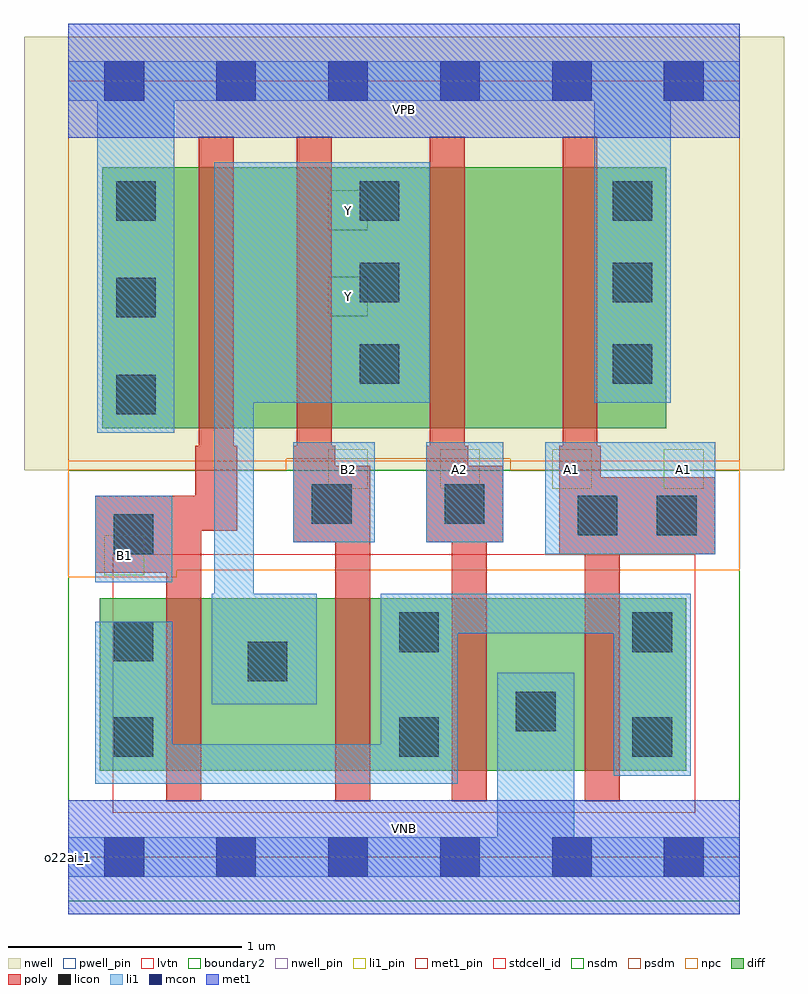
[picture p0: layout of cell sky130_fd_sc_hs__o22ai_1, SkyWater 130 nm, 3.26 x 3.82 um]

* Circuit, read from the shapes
.subckt sky130_fd_sc_hs__o22ai_1 A1 A2 B1 B2 VGND VNB VPB VPWR Y
XM1 Y B1 n1 VNB sky130_fd_pr__nfet_01v8_lvt w=0.74 l=0.15
XM2 n1 B2 Y VNB sky130_fd_pr__nfet_01v8_lvt w=0.74 l=0.15
XM3 VGND A2 n1 VNB sky130_fd_pr__nfet_01v8_lvt w=0.74 l=0.15
XM4 n1 A1 VGND VNB sky130_fd_pr__nfet_01v8_lvt w=0.74 l=0.15
XM5 n2 B1 VPWR VPB sky130_fd_pr__pfet_01v8 w=1.12 l=0.15
XM6 Y B2 n2 VPB sky130_fd_pr__pfet_01v8 w=1.12 l=0.15
XM7 n3 A2 Y VPB sky130_fd_pr__pfet_01v8 w=1.12 l=0.15
XM8 VPWR A1 n3 VPB sky130_fd_pr__pfet_01v8 w=1.12 l=0.15
.ends

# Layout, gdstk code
import gdstk
lib = gdstk.Library(unit=1e-6, precision=1e-09)
def R(c, l, rs):  # rectangles x0, y0, x1, y1
    for r in rs: c.add(gdstk.rectangle(r[:2], r[2:], *l))
def A(c, l, x, y, w, h, nx, ny, dx, dy):  # array of equal rectangles
    R(c, l, [(x+i*dx, y+j*dy, x+i*dx+w, y+j*dy+h) for i in range(nx) for j in range(ny)])
def P(c, l, *ps):  # polygons
    for p in ps: c.add(gdstk.Polygon(p, *l))
nwell_pin = (64, 16)
nwell = (64, 20)
diff = (65, 20)
poly = (66, 20)
licon = (66, 44)
li1_pin = (67, 16)
li1 = (67, 20)
mcon = (67, 44)
met1_pin = (68, 16)
met1 = (68, 20)
stdcell_id = (81, 4)
nsdm = (93, 44)
psdm = (94, 20)
npc = (95, 20)
pwell_pin = (122, 16)
lvtn = (125, 44)
boundary2 = (236, 0)

sky130_fd_sc_hs__o22ai_1 = lib.new_cell('sky130_fd_sc_hs__o22ai_1')
R(sky130_fd_sc_hs__o22ai_1, nwell_pin, [(0,3.085,2.88,3.33)])
R(sky130_fd_sc_hs__o22ai_1, nwell, [(-0.19,1.66,3.07,3.52)])
R(sky130_fd_sc_hs__o22ai_1, diff, [(0.135,0.37,2.65,1.11), (0.145,1.84,2.565,2.96)])
P(sky130_fd_sc_hs__o22ai_1, poly, [(2.775,1.63),(2.285,1.63),(2.285,1.765),(2.27,1.765),(2.27,3.09),(2.12,3.09),(2.12,1.765),(2.105,1.765),(2.105,1.3),(2.215,1.3),(2.215,0.24),(2.365,0.24),(2.365,1.3),(2.775,1.3)],
  [(1.865,1.68),(1.715,1.68),(1.715,1.765),(1.7,1.765),(1.7,3.09),(1.55,3.09),(1.55,1.765),(1.535,1.765),(1.535,1.35),(1.645,1.35),(1.645,0.24),(1.795,0.24),(1.795,1.35),(1.865,1.35)],
  [(1.295,1.68),(1.145,1.68),(1.145,1.765),(1.13,1.765),(1.13,3.09),(0.98,3.09),(0.98,1.765),(0.965,1.765),(0.965,1.35),(1.145,1.35),(1.145,0.24),(1.295,0.24)],
  [(0.725,1.765),(0.71,1.765),(0.71,3.09),(0.56,3.09),(0.56,1.765),(0.545,1.765),(0.545,1.55),(0.115,1.55),(0.115,1.22),(0.42,1.22),(0.42,0.24),(0.57,0.24),(0.57,1.4),(0.725,1.4)])
A(sky130_fd_sc_hs__o22ai_1, licon, 0.205, 1.9, 0.17, 0.17, 1, 3, 0, 0.415)
A(sky130_fd_sc_hs__o22ai_1, licon, 1.25, 2.03, 0.17, 0.17, 1, 3, 0, 0.35)
A(sky130_fd_sc_hs__o22ai_1, licon, 2.335, 2.03, 0.17, 0.17, 1, 3, 0, 0.35)
R(sky130_fd_sc_hs__o22ai_1, licon, [(0.195,0.43,0.365,0.6), (1.42,0.43,1.59,0.6), (2.42,0.43,2.59,0.6), (1.92,0.54,2.09,0.71), (0.77,0.755,0.94,0.925), (0.195,0.84,0.365,1.01), (1.42,0.88,1.59,1.05), (2.42,0.88,2.59,1.05), (0.195,1.3,0.365,1.47), (2.185,1.38,2.355,1.55), (2.525,1.38,2.695,1.55), (1.045,1.43,1.215,1.6), (1.615,1.43,1.785,1.6)])
A(sky130_fd_sc_hs__o22ai_1, li1_pin, 1.115, 1.58, 0.17, 0.17, 4, 1, 0.48, 0)
R(sky130_fd_sc_hs__o22ai_1, li1_pin, [(0.155,1.21,0.325,1.38), (1.115,2.32,1.285,2.49), (1.115,2.69,1.285,2.86)])
R(sky130_fd_sc_hs__o22ai_1, li1, [(0.115,1.18,0.445,1.55), (2.045,1.3,2.775,1.78), (0.965,1.35,1.315,1.78), (1.535,1.35,1.865,1.78)])
P(sky130_fd_sc_hs__o22ai_1, li1, [(0,-0.085),(0,0.085),(1.84,0.085),(1.84,0.79),(2.17,0.79),(2.17,0.085),(2.88,0.085),(2.88,-0.085)],
  [(0,3.245),(0,3.415),(2.88,3.415),(2.88,3.245),(2.585,3.245),(2.585,1.95),(2.255,1.95),(2.255,3.245),(0.455,3.245),(0.455,1.82),(0.125,1.82),(0.125,3.245)],
  [(0.625,2.98),(1.55,2.98),(1.55,1.95),(0.795,1.95),(0.795,1.13),(1.065,1.13),(1.065,0.655),(0.615,0.655),(0.615,1.13),(0.625,1.13)],
  [(2.34,0.35),(2.34,0.96),(1.67,0.96),(1.67,0.315),(0.115,0.315),(0.115,1.01),(0.445,1.01),(0.445,0.485),(1.34,0.485),(1.34,1.13),(2.67,1.13),(2.67,0.35)])
A(sky130_fd_sc_hs__o22ai_1, mcon, 0.155, -0.085, 0.17, 0.17, 6, 2, 0.48, 3.33)
R(sky130_fd_sc_hs__o22ai_1, met1_pin, [(0,0,2.88,0.245), (0,3.085,2.88,3.33)])
R(sky130_fd_sc_hs__o22ai_1, met1, [(0,-0.245,2.88,0.245), (0,3.085,2.88,3.575)])
R(sky130_fd_sc_hs__o22ai_1, stdcell_id, [(0,0,2.88,3.33)])
R(sky130_fd_sc_hs__o22ai_1, nsdm, [(0,-0.19,2.88,1.66)])
P(sky130_fd_sc_hs__o22ai_1, psdm, [(2.88,3.52),(0,3.52),(0,1.66),(0.935,1.66),(0.935,1.71),(1.895,1.71),(1.895,1.66),(2.88,1.66)])
P(sky130_fd_sc_hs__o22ai_1, npc, [(2.88,1.7),(0,1.7),(0,1.2),(0.465,1.2),(0.465,1.23),(2.88,1.23)])
R(sky130_fd_sc_hs__o22ai_1, pwell_pin, [(0,0,2.88,0.245)])
R(sky130_fd_sc_hs__o22ai_1, lvtn, [(0.19,0.19,2.69,1.3)])
R(sky130_fd_sc_hs__o22ai_1, boundary2, [(0,0,2.88,3.33)])
sky130_fd_sc_hs__o22ai_1.add(gdstk.Label('o22ai_1', (0,0), layer=83, texttype=44))
sky130_fd_sc_hs__o22ai_1.add(gdstk.Label('VNB', (1.44,0.123), layer=64, texttype=59))
sky130_fd_sc_hs__o22ai_1.add(gdstk.Label('VPB', (1.44,3.208), layer=64, texttype=5))
sky130_fd_sc_hs__o22ai_1.add(gdstk.Label('VPWR', (1.44,3.208), layer=68, texttype=5))
sky130_fd_sc_hs__o22ai_1.add(gdstk.Label('VGND', (1.44,0.123), layer=68, texttype=5))
sky130_fd_sc_hs__o22ai_1.add(gdstk.Label('B2', (1.2,1.665), layer=67, texttype=5))
sky130_fd_sc_hs__o22ai_1.add(gdstk.Label('B1', (0.24,1.295), layer=67, texttype=5))
sky130_fd_sc_hs__o22ai_1.add(gdstk.Label('Y', (1.2,2.405), layer=67, texttype=5))
sky130_fd_sc_hs__o22ai_1.add(gdstk.Label('Y', (1.2,2.775), layer=67, texttype=5))
sky130_fd_sc_hs__o22ai_1.add(gdstk.Label('A2', (1.68,1.665), layer=67, texttype=5))
sky130_fd_sc_hs__o22ai_1.add(gdstk.Label('A1', (2.16,1.665), layer=67, texttype=5))
sky130_fd_sc_hs__o22ai_1.add(gdstk.Label('A1', (2.64,1.665), layer=67, texttype=5))

lib.write_gds('sky130_fd_sc_hs__o22ai_1.gds')
